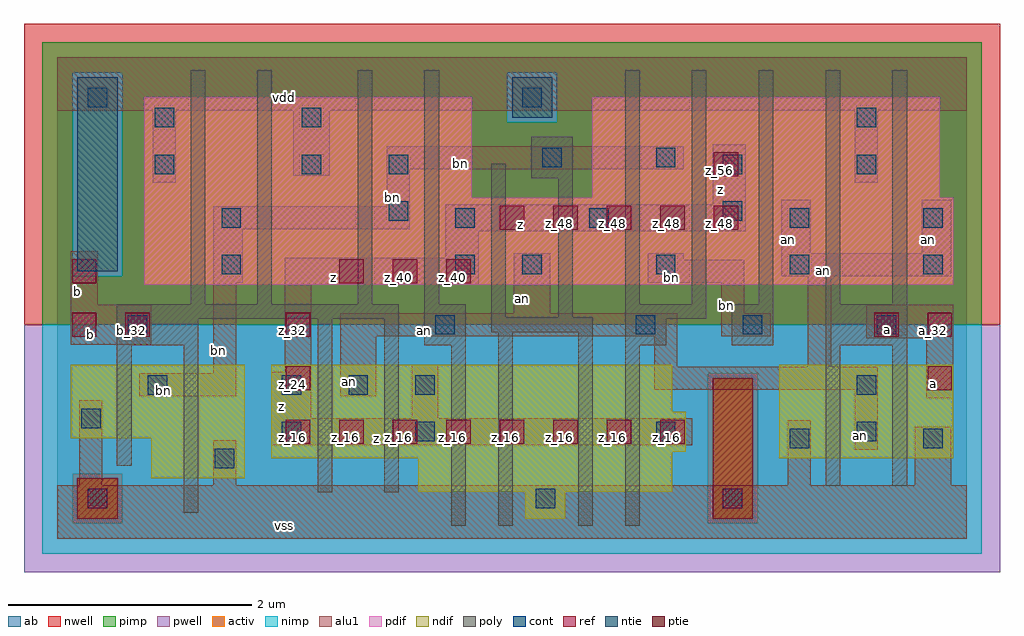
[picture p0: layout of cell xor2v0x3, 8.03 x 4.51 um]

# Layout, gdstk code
import gdstk
lib = gdstk.Library(unit=1e-6, precision=2.5e-09)
def R(c, l, rs):  # rectangles x0, y0, x1, y1
    for r in rs: c.add(gdstk.rectangle(r[:2], r[2:], *l))
def A(c, l, x, y, w, h, nx, ny, dx, dy):  # array of equal rectangles
    R(c, l, [(x+i*dx, y+j*dy, x+i*dx+w, y+j*dy+h) for i in range(nx) for j in range(ny)])
ndif = (3, 0)
pdif = (4, 0)
ntie = (5, 0)
ptie = (6, 0)
ref = (24, 0)
cont = (25, 0)
pwell = (41, 0)
nwell = (42, 0)
activ = (43, 0)
pimp = (44, 0)
nimp = (45, 0)
poly = (46, 0)
alu1 = (49, 0)
ab = (63, 0)

xor2v0x3 = lib.new_cell('xor2v0x3')
R(xor2v0x3, ndif, [(3.85,0.165,4.18,0.385), (2.97,0.385,5.06,0.66), (0.77,0.495,1.54,0.825), (1.76,0.66,5.06,0.715), (5.94,0.66,7.37,1.43), (1.76,0.715,5.17,1.045), (0.11,0.825,1.54,1.43), (1.76,1.045,5.06,1.43)])
R(xor2v0x3, pdif, [(0.715,2.09,7.37,2.805), (0.715,2.805,3.41,3.63), (4.4,2.805,7.26,3.63)])
R(xor2v0x3, ntie, [(0.165,2.2,0.495,3.795), (3.74,3.465,4.07,3.795)])
R(xor2v0x3, ptie, [(0.165,0.165,0.495,0.495), (5.39,0.165,5.72,1.32)])
A(xor2v0x3, ref, 1.88, 0.78, 0.2, 0.2, 8, 1, 0.44, 0)
A(xor2v0x3, ref, 2.32, 2.1, 0.2, 0.2, 3, 1, 0.44, 0)
A(xor2v0x3, ref, 3.64, 2.54, 0.2, 0.2, 5, 1, 0.44, 0)
R(xor2v0x3, ref, [(1.88,1.22,2.08,1.42), (7.16,1.22,7.36,1.42), (0.12,1.66,0.32,1.86), (0.56,1.66,0.76,1.86), (1.88,1.66,2.08,1.86), (6.72,1.66,6.92,1.86), (7.16,1.66,7.36,1.86), (0.12,2.1,0.32,2.3), (5.4,2.98,5.6,3.18)])
A(xor2v0x3, cont, 1.845, 1.185, 0.16, 0.16, 3, 1, 0.55, 0)
A(xor2v0x3, cont, 3.825, 2.175, 0.16, 0.16, 4, 1, 1.1, 0)
R(xor2v0x3, cont, [(0.25,0.25,0.41,0.41), (3.935,0.25,4.095,0.41), (5.475,0.25,5.635,0.41), (1.295,0.58,1.455,0.74), (6.025,0.745,6.185,0.905), (7.125,0.745,7.285,0.905), (1.845,0.8,2.005,0.96), (2.945,0.8,3.105,0.96), (4.925,0.8,5.085,0.96), (6.575,0.8,6.735,0.96), (0.195,0.91,0.355,1.07), (0.745,1.185,0.905,1.345), (6.575,1.185,6.735,1.345), (0.58,1.68,0.74,1.84), (3.11,1.68,3.27,1.84), (4.76,1.68,4.92,1.84), (5.64,1.68,5.8,1.84), (6.74,1.68,6.9,1.84), (1.35,2.175,1.51,2.335), (3.275,2.175,3.435,2.335), (1.35,2.56,1.51,2.72), (3.275,2.56,3.435,2.72), (4.375,2.56,4.535,2.72), (6.025,2.56,6.185,2.72), (7.125,2.56,7.285,2.72), (2.725,2.615,2.885,2.775), (5.475,2.615,5.635,2.775), (0.8,3,0.96,3.16), (2.01,3,2.17,3.16), (2.725,3,2.885,3.16), (5.475,3,5.635,3.16), (6.575,3,6.735,3.16), (3.99,3.055,4.15,3.215), (4.925,3.055,5.085,3.215), (0.8,3.385,0.96,3.545), (2.01,3.385,2.17,3.545), (6.575,3.385,6.735,3.545), (0.25,3.55,0.41,3.71), (3.825,3.55,3.985,3.71)])
R(xor2v0x3, pwell, [(-0.275,-0.275,7.755,1.76)])
R(xor2v0x3, nwell, [(-0.275,1.76,7.755,4.235)])
R(xor2v0x3, activ, [(0.165,0.165,0.495,0.495), (3.85,0.165,4.18,0.385), (5.39,0.165,5.72,1.32), (2.97,0.385,5.06,0.66), (0.77,0.495,1.54,0.825), (1.76,0.66,5.06,0.715), (5.94,0.66,7.37,1.43), (1.76,0.715,5.17,1.045), (0.11,0.825,1.54,1.43), (1.76,1.045,5.06,1.43), (0.715,2.09,7.37,2.805), (0.165,2.2,0.495,3.795), (0.715,2.805,3.41,3.63), (4.4,2.805,7.26,3.63), (3.74,3.465,4.07,3.795)])
R(xor2v0x3, pimp, [(0.125,0.125,0.535,0.535), (5.35,0.125,5.76,1.36), (-0.125,1.76,7.605,2.16), (-0.125,2.16,0.125,3.835), (0.535,2.16,7.605,3.425), (0.535,3.425,3.7,3.835), (4.11,3.425,7.605,3.835), (-0.125,3.835,7.605,4.085)])
R(xor2v0x3, nimp, [(-0.125,-0.125,7.605,0.125), (-0.125,0.125,0.125,0.535), (0.535,0.125,5.35,0.535), (5.76,0.125,7.605,1.36), (-0.125,0.535,5.35,1.36), (-0.125,1.36,7.605,1.76), (0.125,2.16,0.535,3.835), (3.7,3.425,4.11,3.835)])
A(xor2v0x3, poly, 4.67, 1.93, 0.12, 1.925, 5, 1, 0.55, 0)
R(xor2v0x3, poly, [(3.24,0.105,3.36,1.59), (3.625,0.105,3.745,1.7), (4.285,0.105,4.405,1.7), (4.67,0.105,4.79,1.59), (1.04,0.215,1.16,1.59), (2.14,0.38,2.26,1.81), (2.69,0.38,2.81,1.81), (6.32,0.435,6.44,1.59), (6.87,0.435,6.99,1.59), (0.49,0.6,0.61,1.59), (0.49,1.59,1.16,1.81), (3.02,1.59,3.36,1.93), (4.67,1.59,5.01,1.81), (5.55,1.59,5.89,1.93), (6.32,1.59,6.99,1.93), (3.57,1.7,4.405,1.82), (0.49,1.81,2.81,1.93), (4.67,1.81,5.34,1.93), (3.57,1.82,3.69,3.085), (4.12,1.82,4.24,2.965), (1.095,1.93,1.215,3.855), (1.645,1.93,1.765,3.855), (2.47,1.93,2.59,3.855), (3.02,1.93,3.14,3.855), (3.9,2.965,4.24,3.305)])
R(xor2v0x3, alu1, [(0,0,7.48,0.44), (0.18,0.44,0.37,1.14), (1.28,0.44,1.47,0.81), (6.01,0.44,6.2,0.975), (7.055,0.44,7.355,0.92), (6.56,0.73,6.75,1.225), (1.76,0.77,5.225,0.99), (1.76,0.99,2.09,1.375), (2.915,0.99,3.135,1.43), (7.15,1.155,7.37,1.65), (0.675,1.17,1.47,1.36), (2.325,1.17,2.625,1.665), (4.91,1.225,6.75,1.415), (1.28,1.36,1.47,2.105), (1.87,1.375,2.09,2.09), (4.91,1.415,5.1,1.665), (6.175,1.415,6.365,2.16), (0.11,1.595,0.77,1.925), (6.655,1.65,7.37,1.925), (2.325,1.665,5.1,1.855), (5.46,1.665,5.87,1.855), (3.755,1.855,4.055,2.35), (5.46,1.855,5.65,2.105), (0.11,1.925,0.33,2.365), (1.87,2.09,3.465,2.31), (1.28,2.105,1.525,2.545), (4.855,2.105,5.65,2.295), (5.955,2.16,7.355,2.35), (4.855,2.295,5.155,2.35), (3.19,2.31,3.465,2.53), (5.955,2.35,6.2,2.79), (7.11,2.35,7.355,2.79), (3.19,2.53,5.665,2.75), (1.28,2.545,2.9,2.735), (2.71,2.735,2.9,3.04), (5.39,2.75,5.665,3.245), (0.785,2.93,0.975,3.52), (6.56,2.93,6.75,3.52), (1.94,2.985,2.24,3.52), (2.71,3.04,5.155,3.23), (0,3.52,7.48,3.96)])
R(xor2v0x3, ab, [(0,0,7.48,3.96)])
xor2v0x3.add(gdstk.Label('vss', (1.87,0.11), layer=49, texttype=0))
xor2v0x3.add(gdstk.Label('a', (7.205,1.2775), layer=49, texttype=0))
xor2v0x3.add(gdstk.Label('an', (6.6075,0.8525), layer=49, texttype=0))
xor2v0x3.add(gdstk.Label('z', (2.625,0.825), layer=49, texttype=0))
xor2v0x3.add(gdstk.Label('a', (6.8325,1.7175), layer=49, texttype=0))
xor2v0x3.add(gdstk.Label('an', (2.4,1.2925), layer=49, texttype=0))
xor2v0x3.add(gdstk.Label('an', (3.0175,1.7125), layer=49, texttype=0))
xor2v0x3.add(gdstk.Label('z', (1.8425,1.085), layer=49, texttype=0))
xor2v0x3.add(gdstk.Label('bn', (0.8725,1.2175), layer=49, texttype=0))
xor2v0x3.add(gdstk.Label('bn', (5.5075,1.9175), layer=49, texttype=0))
xor2v0x3.add(gdstk.Label('an', (6.305,2.2075), layer=49, texttype=0))
xor2v0x3.add(gdstk.Label('bn', (5.0525,2.1525), layer=49, texttype=0))
xor2v0x3.add(gdstk.Label('an', (3.83,1.9775), layer=49, texttype=0))
xor2v0x3.add(gdstk.Label('z', (2.2675,2.145), layer=49, texttype=0))
xor2v0x3.add(gdstk.Label('bn', (1.3275,1.545), layer=49, texttype=0))
xor2v0x3.add(gdstk.Label('b', (0.275,1.6775), layer=49, texttype=0))
xor2v0x3.add(gdstk.Label('an', (7.17,2.46), layer=49, texttype=0))
xor2v0x3.add(gdstk.Label('an', (6.015,2.46), layer=49, texttype=0))
xor2v0x3.add(gdstk.Label('z', (3.8075,2.585), layer=49, texttype=0))
xor2v0x3.add(gdstk.Label('b', (0.165,2.035), layer=49, texttype=0))
xor2v0x3.add(gdstk.Label('z', (5.4575,2.8725), layer=49, texttype=0))
xor2v0x3.add(gdstk.Label('bn', (2.7575,2.81), layer=49, texttype=0))
xor2v0x3.add(gdstk.Label('bn', (3.32,3.0875), layer=49, texttype=0))
xor2v0x3.add(gdstk.Label('vdd', (1.87,3.63), layer=49, texttype=0))
xor2v0x3.add(gdstk.Label('z_48', (5.45,2.59), layer=24, texttype=0))
xor2v0x3.add(gdstk.Label('z_48', (5.01,2.59), layer=24, texttype=0))
xor2v0x3.add(gdstk.Label('z_48', (4.57,2.59), layer=24, texttype=0))
xor2v0x3.add(gdstk.Label('z_48', (4.13,2.59), layer=24, texttype=0))
xor2v0x3.add(gdstk.Label('z_48', (3.69,2.59), layer=24, texttype=0))
xor2v0x3.add(gdstk.Label('b_32', (0.17,1.71), layer=24, texttype=0))
xor2v0x3.add(gdstk.Label('a_24', (7.21,1.27), layer=24, texttype=0))
xor2v0x3.add(gdstk.Label('a_32', (7.21,1.71), layer=24, texttype=0))
xor2v0x3.add(gdstk.Label('a_32', (6.77,1.71), layer=24, texttype=0))
xor2v0x3.add(gdstk.Label('z_16', (5.01,0.83), layer=24, texttype=0))
xor2v0x3.add(gdstk.Label('z_16', (4.57,0.83), layer=24, texttype=0))
xor2v0x3.add(gdstk.Label('z_16', (4.13,0.83), layer=24, texttype=0))
xor2v0x3.add(gdstk.Label('z_16', (3.69,0.83), layer=24, texttype=0))
xor2v0x3.add(gdstk.Label('z_40', (3.25,2.15), layer=24, texttype=0))
xor2v0x3.add(gdstk.Label('z_16', (3.25,0.83), layer=24, texttype=0))
xor2v0x3.add(gdstk.Label('z_40', (2.81,2.15), layer=24, texttype=0))
xor2v0x3.add(gdstk.Label('z_16', (2.81,0.83), layer=24, texttype=0))
xor2v0x3.add(gdstk.Label('z_40', (2.37,2.15), layer=24, texttype=0))
xor2v0x3.add(gdstk.Label('z_16', (2.37,0.83), layer=24, texttype=0))
xor2v0x3.add(gdstk.Label('b_40', (0.17,2.15), layer=24, texttype=0))
xor2v0x3.add(gdstk.Label('z_32', (1.93,1.71), layer=24, texttype=0))
xor2v0x3.add(gdstk.Label('z_24', (1.93,1.27), layer=24, texttype=0))
xor2v0x3.add(gdstk.Label('z_16', (1.93,0.83), layer=24, texttype=0))
xor2v0x3.add(gdstk.Label('b_32', (0.61,1.71), layer=24, texttype=0))
xor2v0x3.add(gdstk.Label('z_56', (5.45,3.03), layer=24, texttype=0))

lib.write_gds('xor2v0x3.gds')
